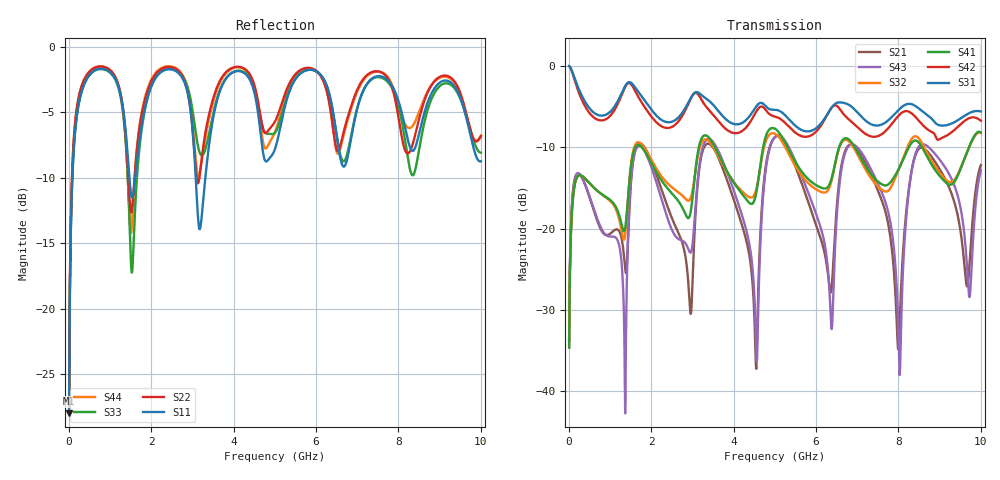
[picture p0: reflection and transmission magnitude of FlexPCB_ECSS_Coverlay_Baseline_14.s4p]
! TOUCHSTONE file generated by CST MICROWAVE STUDIO
! Date and time: Sun Jul  5 19:09:39 2026
! Project name: FlexPCB_ECSS_Coverlay_Baseline.cst
! Parameters = {Gap=0.6; GroundW=6.2; Hadh=0.025; Hcov=0.025; Hsub=0.1; L=50; Tcu=0.035; W=0.26}
! Header version: 2024
! Port assignment regex: !\s*Touchstone port\s*([0-9]+)\s*=\s*(CST MWS port|CST DES external port|CST DES block port)\s*(.+)\s* \(\"(.*)\"\)(\s*mode\s*([0-9]+))?.*
! Touchstone port assignment:
! Touchstone port 1 = CST MWS port 1 ("")
! Touchstone port 2 = CST MWS port 2 ("")
! Touchstone port 3 = CST MWS port 3 ("")
! Touchstone port 4 = CST MWS port 4 ("")
# GHz S MA R 50
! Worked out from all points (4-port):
!   1002 points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, 10 MHz to 10 GHz, reference 50 ohm
!   strongest paths, dB at 10 MHz, 2.51 GHz, 5.01 GHz, 7.503 GHz, 10 GHz:
!     S31: 0.0, -6.8, -5.4, -7.3, -5.6
!     S42: 0.0, -7.5, -6.2, -8.6, -6.7
!     S41: -34.6, -15.7, -7.7, -14.2, -8.2
!     S32: -34.6, -14.9, -8.3, -14.8, -8.2
!     S43: -33.8, -20.2, -8.7, -14.5, -12.8
!     S21: -33.8, -18.8, -8.7, -15.3, -12.2
!   lowest |S11| = -28.0 dB at 10 MHz (marker M1), VSWR 1.08, Z = 49.7 - j3.97 ohm
!   |S11| at or under -10 dB: start of sweep to 87.81 MHz; 1.473 GHz to 1.613 GHz (140.3 MHz wide, 9.09 % of centre); 3.082 GHz to 3.314 GHz (232.1 MHz wide, 7.26 % of centre)
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0.01  0.03989 -92.1  0.02048 84.7  0.9979 -2.7  0.01852 84.8
      0.02048 84.7  0.04393 -92.3  0.01852 84.8  0.9977 -2.9
      0.9979 -2.7  0.01852 84.8  0.03989 -92.1  0.02047 84.7
      0.01852 84.8  0.9977 -2.9  0.02047 84.7  0.04392 -92.3
1.52  0.2699 167.4  0.2057 64.9  0.7867 -173.0  0.25 -105.9
      0.2057 64.9  0.233 178.6  0.2584 -100.9  0.7693 -176.2
      0.7867 -173.0  0.2584 -100.9  0.1415 163.5  0.2128 84.5
      0.25 -105.9  0.7693 -176.2  0.2128 84.5  0.197 -177.0
3.16  0.2053 159.3  0.2248 78.9  0.6824 10.3  0.3188 76.1
      0.2248 78.9  0.3093 -176.2  0.3009 67.8  0.6597 4.3
      0.6824 10.3  0.3009 67.8  0.4028 166.1  0.2342 50.8
      0.3188 76.1  0.6597 4.3  0.2342 50.8  0.3225 177.1
4.77  0.3671 164.5  0.2318 71.9  0.5694 -165.8  0.3613 -98.6
      0.2318 71.9  0.4697 172.1  0.3373 -104.2  0.5407 -166.7
      0.5694 -165.8  0.3373 -104.2  0.4692 166.3  0.2201 66.6
      0.3613 -98.6  0.5407 -166.7  0.2201 66.6  0.4097 168.6
6.61  0.365 159.4  0.2387 30.0  0.5969 2.2  0.3397 50.5
      0.2387 30.0  0.4322 -176.8  0.3343 51.4  0.5297 -8.1
      0.5969 2.2  0.3343 51.4  0.3773 158.8  0.2259 28.3
      0.3397 50.5  0.5297 -8.1  0.2259 28.3  0.4211 -177.7
8.03  0.6002 150.2  0.02603 20.7  0.5452 -146.6  0.2391 -97.4
      0.02603 20.7  0.5047 152.1  0.2395 -90.1  0.5034 -147.2
      0.5452 -146.6  0.2395 -90.1  0.5687 144.2  0.01256 -30.1
      0.2391 -97.4  0.5034 -147.2  0.01256 -30.1  0.5736 157.4
10  0.3661 168.5  0.2458 10.2  0.5255 -12.5  0.3908 40.9
    0.2458 10.2  0.4565 -178.5  0.3872 41.8  0.4604 -16.1
    0.5255 -12.5  0.3872 41.8  0.3947 166.4  0.2289 -0.9
    0.3908 40.9  0.4604 -16.1  0.2289 -0.9  0.4587 174.3
